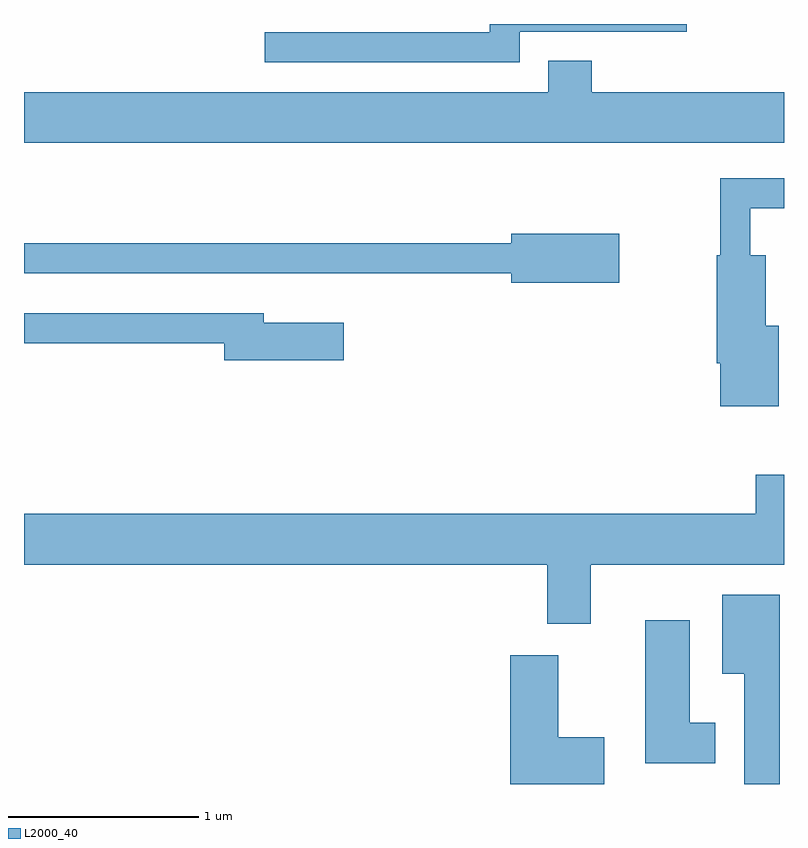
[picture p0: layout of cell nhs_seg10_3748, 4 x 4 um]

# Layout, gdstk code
import gdstk
lib = gdstk.Library(unit=1e-6, precision=1e-09)
def P(c, l, *ps):  # polygons
    for p in ps: c.add(gdstk.Polygon(p, *l))
L2000_40 = (2000, 40)

nhs_seg10_3748 = lib.new_cell('nhs_seg10_3748')
P(nhs_seg10_3748, L2000_40, [(298.219,2134.481),(299.098,2134.481),(299.098,2134.522),(298.061,2134.522),(298.061,2134.479),(296.878,2134.479),(296.878,2134.321),(298.219,2134.321)],
  [(299.611,2134.164),(298.599,2134.164),(298.599,2134.329),(298.371,2134.329),(298.371,2134.164),(295.611,2134.164),(295.611,2133.896),(299.611,2133.896)],
  [(299.584,2132.934),(299.514,2132.934),(299.514,2133.304),(299.434,2133.304),(299.434,2133.551),(299.611,2133.551),(299.611,2133.709),(299.276,2133.709),(299.276,2133.304),(299.256,2133.304),(299.256,2132.736),(299.276,2132.736),(299.276,2132.511),(299.584,2132.511)],
  [(298.744,2133.419),(298.176,2133.419),(298.176,2133.369),(295.611,2133.369),(295.611,2133.211),(298.176,2133.211),(298.176,2133.161),(298.744,2133.161)],
  [(297.294,2132.949),(296.874,2132.949),(296.874,2132.999),(295.611,2132.999),(295.611,2132.841),(296.666,2132.841),(296.666,2132.751),(297.294,2132.751)],
  [(298.594,2131.676),(299.611,2131.676),(299.611,2132.149),(299.461,2132.149),(299.461,2131.944),(295.611,2131.944),(295.611,2131.676),(298.366,2131.676),(298.366,2131.366),(298.594,2131.366)],
  [(299.589,2131.519),(299.286,2131.519),(299.286,2131.101),(299.401,2131.101),(299.401,2130.522),(299.589,2130.522)],
  [(299.249,2130.844),(299.114,2130.844),(299.114,2131.384),(298.881,2131.384),(298.881,2130.631),(299.249,2130.631)],
  [(298.664,2130.769),(298.424,2130.769),(298.424,2131.199),(298.171,2131.199),(298.171,2130.522),(298.664,2130.522)])

lib.write_gds('nhs_seg10_3748.gds')
